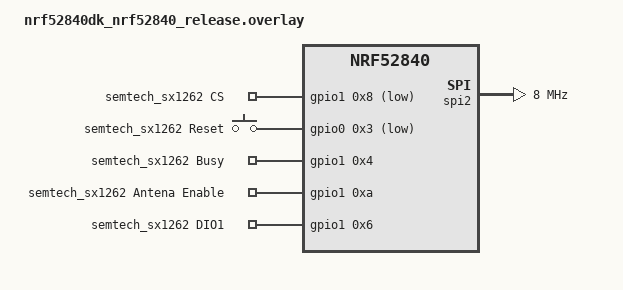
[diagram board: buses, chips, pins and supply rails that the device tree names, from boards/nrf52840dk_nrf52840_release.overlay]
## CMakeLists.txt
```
#
# Copyright (c) 2022 Nordic Semiconductor ASA
#
# SPDX-License-Identifier: LicenseRef-Nordic-5-Clause
#

cmake_minimum_required(VERSION 3.20.0)

include(../common/bootloader_version.cmake)

set(mcuboot_KCONFIG_ROOT ${CMAKE_CURRENT_SOURCE_DIR}/child_image/mcuboot/Kconfig.root)
set(hci_rpmsg_KCONFIG_ROOT ${CMAKE_CURRENT_SOURCE_DIR}/child_image/hci_rpmsg/Kconfig.root)

find_package(Zephyr REQUIRED HINTS $ENV{ZEPHYR_BASE})
project(sidewalk_template_subghz)

zephyr_include_directories(include)

target_sources(app PRIVATE
  src/main.c
  src/application_thread.c
  src/board_events.c
  src/sidewalk_callbacks.c
)
```

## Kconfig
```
#
# Copyright (c) 2022 Nordic Semiconductor ASA
#
# SPDX-License-Identifier: LicenseRef-Nordic-4-Clause
#

module = SID_THREAD
module-str = Sidewalk event thread
source "${ZEPHYR_BASE}/subsys/logging/Kconfig.template.log_config"

rsource "../common/Kconfig.defconfig"

source "Kconfig.zephyr"
```

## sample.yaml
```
sample:
  name: Sidewalk application template
  description: Sample implementing Amazon Sidewalk End Device
tests:
  sample.sidewalk.template.lora:
    build_only: true
    platform_allow: nrf52840dk_nrf52840 nrf5340dk_nrf5340_cpuapp
    integration_platforms:
      - nrf52840dk_nrf52840
      - nrf5340dk_nrf5340_cpuapp
    tags: Sidewalk

  sample.sidewalk.template.lora.cli:
    build_only: true
    platform_allow: nrf52840dk_nrf52840 nrf5340dk_nrf5340_cpuapp
    extra_args: CONFIG_SIDEWALK_CLI=y
    integration_platforms:
      - nrf52840dk_nrf52840
      - nrf5340dk_nrf5340_cpuapp
    tags: Sidewalk_cli

  sample.sidewalk.template.lora.release:
    build_only: true
    platform_allow: nrf52840dk_nrf52840 nrf5340dk_nrf5340_cpuapp
    extra_args: CONF_FILE=prj_release.conf
    integration_platforms:
      - nrf52840dk_nrf52840
      - nrf5340dk_nrf5340_cpuapp
    tags: Sidewalk

  sample.sidewalk.template.fsk:
    build_only: true
    platform_allow: nrf52840dk_nrf52840 nrf5340dk_nrf5340_cpuapp
    extra_args: OVERLAY_CONFIG=fsk.conf
    integration_platforms:
      - nrf52840dk_nrf52840
      - nrf5340dk_nrf5340_cpuapp
    tags: Sidewalk

  sample.sidewalk.template.fsk.cli:
    build_only: true
    platform_allow: nrf52840dk_nrf52840 nrf5340dk_nrf5340_cpuapp
    extra_args: OVERLAY_CONFIG=fsk.conf CONFIG_SIDEWALK_CLI=y
    integration_platforms:
      - nrf52840dk_nrf52840
      - nrf5340dk_nrf5340_cpuapp
    tags: Sidewalk_cli

  sample.sidewalk.template.fsk.release:
    build_only: true
    platform_allow: nrf52840dk_nrf52840 nrf5340dk_nrf5340_cpuapp
    extra_args: OVERLAY_CONFIG=fsk.conf CONF_FILE=prj_release.conf
    integration_platforms:
      - nrf52840dk_nrf52840
      - nrf5340dk_nrf5340_cpuapp
    tags: Sidewalk
```

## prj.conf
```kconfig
#
# Copyright (c) 2022 Nordic Semiconductor ASA
#
# SPDX-License-Identifier: LicenseRef-Nordic-5-Clause
#

# Sidewalk
CONFIG_SIDEWALK=y
CONFIG_SIDEWALK_LINK_MASK_LORA=y

# Logs
CONFIG_SIDEWALK_LOG_LEVEL_INF=y
CONFIG_NVS_LOG_LEVEL_WRN=y
CONFIG_LOG_PRINTK=y

# Buttons and LEDs
CONFIG_GPIO=y
CONFIG_DK_LIBRARY=y

# Bluetooth
CONFIG_BT_DEVICE_NAME="Sid template"

# Debug
CONFIG_RESET_ON_FATAL_ERROR=n

# Power Management
CONFIG_PM_DEVICE=y
```

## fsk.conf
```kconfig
#
# Copyright (c) 2022 Nordic Semiconductor ASA
#
# SPDX-License-Identifier: LicenseRef-Nordic-5-Clause
#

CONFIG_SIDEWALK_LINK_MASK_FSK=y

CONFIG_HW_CC3XX=y
CONFIG_PSA_CRYPTO_DRIVER_CC3XX=y
CONFIG_MBEDTLS_HEAP_SIZE=1024

CONFIG_SPIN_VALIDATE=n
```

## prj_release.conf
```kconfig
#
# Copyright (c) 2022 Nordic Semiconductor ASA
#
# SPDX-License-Identifier: LicenseRef-Nordic-5-Clause
#

# Sidewalk
CONFIG_SIDEWALK=y
CONFIG_SIDEWALK_LINK_MASK_LORA=y

# Buttons and LEDs
CONFIG_GPIO=y
CONFIG_DK_LIBRARY=y

# Bluetooth
CONFIG_BT_DEVICE_NAME="Sid template"

# Disable peripherals
CONFIG_LOG=n
CONFIG_SERIAL=n
CONFIG_SHELL=n
CONFIG_CONSOLE=n
CONFIG_UART_CONSOLE=n
CONFIG_ASSERT=n
CONFIG_ASSERT_VERBOSE=n
CONFIG_ASSERT_NO_FILE_INFO=y
CONFIG_PRINTK_SYNC=n
CONFIG_THREAD_NAME=n

# Power Management
CONFIG_PM_DEVICE=y
```

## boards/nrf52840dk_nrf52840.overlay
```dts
/*
 * Copyright (c) 2022 Nordic Semiconductor ASA
 *
 * SPDX-License-Identifier: LicenseRef-Nordic-5-Clause
 */

&spi3 {
	status = "disabled";
};

sid_semtech: &spi2 {
	compatible = "nordic,nrf-spim";
	status = "okay";
	pinctrl-0 = <&spi2_default>;
	pinctrl-1 = <&spi2_sleep>;
	pinctrl-names = "default", "sleep";
	clock-frequency = <DT_FREQ_M(8)>;
};

&spi2_default {
	group1 {
		psels = <NRF_PSEL(SPIM_SCK, 1, 15)>,
			<NRF_PSEL(SPIM_MISO, 1, 14)>,
			<NRF_PSEL(SPIM_MOSI, 1, 13)>;
	};
};

&spi2_sleep {
	group1 {
		psels = <NRF_PSEL(SPIM_SCK, 1, 15)>,
			<NRF_PSEL(SPIM_MISO, 1, 14)>,
			<NRF_PSEL(SPIM_MOSI, 1, 13)>;
		low-power-enable;
	};
};

/ {
	chosen {
		nordic,pm-ext-flash = &mx25r64;
	};
};
```

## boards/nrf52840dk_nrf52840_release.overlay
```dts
/*
 * Copyright (c) 2022 Nordic Semiconductor ASA
 *
 * SPDX-License-Identifier: LicenseRef-Nordic-5-Clause
 */

&spi3 {
	status = "disabled";
};

sid_semtech: &spi2 {
	compatible = "nordic,nrf-spim";
	status = "okay";
	pinctrl-0 = <&spi2_default>;
	pinctrl-1 = <&spi2_sleep>;
	pinctrl-names = "default", "sleep";
	clock-frequency = <DT_FREQ_M(8)>;
};

&spi2_default {
	group1 {
		psels = <NRF_PSEL(SPIM_SCK, 1, 15)>,
			<NRF_PSEL(SPIM_MISO, 1, 14)>,
			<NRF_PSEL(SPIM_MOSI, 1, 13)>;
	};
};

&spi2_sleep {
	group1 {
		psels = <NRF_PSEL(SPIM_SCK, 1, 15)>,
			<NRF_PSEL(SPIM_MISO, 1, 14)>,
			<NRF_PSEL(SPIM_MOSI, 1, 13)>;
		low-power-enable;
	};
};

/ {
	semtech_sx1262_gpios{
 		compatible = "gpio-keys";
		semtech_sx1262_cs: cs {
			gpios = <&gpio1 0x8 GPIO_ACTIVE_LOW>;
			label = "semtech_sx1262 CS";
		};
 		semtech_sx1262_reset_gpios: reset {
			gpios = <&gpio0 0x3 GPIO_ACTIVE_LOW>;
			label = "semtech_sx1262 Reset";
		};
		semtech_sx1262_busy_gpios: busy {
			gpios = <&gpio1 0x4 GPIO_ACTIVE_HIGH>;
			label = "semtech_sx1262 Busy";
		};
		semtech_sx1262_antenna_enable_gpios: antena_enable {
			gpios = <&gpio1 0xa GPIO_ACTIVE_HIGH>;
			label = "semtech_sx1262 Antena Enable";
		};
		semtech_sx1262_dio1_gpios: dio1 {
			gpios = <&gpio1 0x6 GPIO_ACTIVE_HIGH>;
			label = "semtech_sx1262 DIO1";
		};
 	};

	chosen {
		nordic,pm-ext-flash = &mx25r64;
	};
};
```

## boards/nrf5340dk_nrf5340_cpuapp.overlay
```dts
/*
 * Copyright (c) 2023 Nordic Semiconductor ASA
 *
 * SPDX-License-Identifier: LicenseRef-Nordic-5-Clause
 */

#include <zephyr/dt-bindings/ipc_service/static_vrings.h>

&ipc0 {
    zephyr,priority = <0 PRIO_COOP>;
};

 sid_semtech: &spi4 {
	compatible = "nordic,nrf-spim";
	status = "okay";
	pinctrl-0 = <&spi4_default>;
	pinctrl-1 = <&spi4_sleep>;
	pinctrl-names = "default", "sleep";
	clock-frequency = <DT_FREQ_M(8)>;
};

/{
	semtech_sx1262_gpios{
		compatible = "gpio-keys";
	   semtech_sx1262_cs: cs {
		   gpios = <&gpio1 0x9 GPIO_ACTIVE_LOW>;
		   label = "semtech_sx1262 CS";
	   };
		semtech_sx1262_reset_gpios: reset {
		   gpios = <&gpio0 0x4 GPIO_ACTIVE_LOW>;
		   label = "semtech_sx1262 Reset";
	   };
	   semtech_sx1262_busy_gpios: busy {
		   gpios = <&gpio1 0x5 GPIO_ACTIVE_HIGH>;
		   label = "semtech_sx1262 Busy";
	   };
	   semtech_sx1262_antenna_enable_gpios: antena_enable {
		   gpios = <&gpio1 0xa GPIO_ACTIVE_HIGH>;
		   label = "semtech_sx1262 Antena Enable";
	   };
	   semtech_sx1262_dio1_gpios: dio1 {
		   gpios = <&gpio1 0x7 GPIO_ACTIVE_HIGH>;
		   label = "semtech_sx1262 DIO1";
	   };
	};

	chosen {
		nordic,pm-ext-flash = &mx25r64;
	};
};

/* Disable unused peripherals to reduce power consumption */
&adc {
	status = "disabled";
};
&i2c1 {
	status = "disabled";
};
&pwm0 {
	status = "disabled";
};
&spi2 {
	status = "disabled";
};
&usbd {
	status = "disabled";
};
```

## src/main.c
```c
/*
 * Copyright (c) 2023 Nordic Semiconductor ASA
 *
 * SPDX-License-Identifier: LicenseRef-Nordic-5-Clause
 */

#include <sid_api.h>
#include <sid_error.h>
#include <sid_pal_assert_ifc.h>
#include <app_ble_config.h>
#include <app_subGHz_config.h>

#include <stdbool.h>
#include <zephyr/kernel.h>
#include <zephyr/logging/log.h>
#include <zephyr/settings/settings.h>

#include <settings_utils.h>
#include <dk_buttons_and_leds.h>
#include <sidewalk_version.h>
#include <nordic_dfu.h>
#if defined(CONFIG_BOOTLOADER_MCUBOOT)
#include <zephyr/dfu/mcuboot.h>
#endif
#if defined(CONFIG_GPIO)
#include <state_notifier_gpio_backend.h>
#endif
#if defined(CONFIG_LOG)
#include <state_notifier_log_backend.h>
#endif

#include <pal_init.h>
#include <buttons.h>
#include <application_thread.h>
#include <sidewalk_callbacks.h>

#if defined(CONFIG_NORDIC_QSPI_NOR)
#include <zephyr/device.h>
#include <zephyr/pm/device.h>

#define EXTERNAL_FLASH DT_CHOSEN(nordic_pm_ext_flash)
#endif

LOG_MODULE_REGISTER(main, CONFIG_SIDEWALK_LOG_LEVEL);

static app_ctx_t app_context;

static void button_handler(uint32_t event)
{
	app_event_send((app_event_t)event);
}

static sid_error_t app_buttons_init(btn_handler_t handler)
{
	button_set_action_long_press(DK_BTN1, handler, BUTTON_EVENT_FACTORY_RESET);
	button_set_action_short_press(DK_BTN2, handler, BUTTON_EVENT_GET_DEVICE_PROFILE);
	button_set_action_long_press(DK_BTN2, handler, BUTTON_EVENT_SET_DEVICE_PROFILE);
	button_set_action(DK_BTN3, handler, BUTTON_EVENT_SEND_HELLO);
#if defined(CONFIG_SIDEWALK_DFU_SERVICE_BLE)
	button_set_action_long_press(DK_BTN4, handler, BUTTON_EVENT_NORDIC_DFU);
#endif

	return buttons_init() ? SID_ERROR_GENERIC : SID_ERROR_NONE;
}

static void app_setup(void)
{
	if (app_buttons_init(button_handler)) {
		LOG_ERR("Failed to initialze buttons.");
		SID_PAL_ASSERT(false);
	}

	if (dk_leds_init()) {
		LOG_ERR("Failed to initialze LEDs.");
		SID_PAL_ASSERT(false);
	}
#if defined(CONFIG_GPIO)
	state_watch_init_gpio(&global_state_notifier);
#endif
#if defined(CONFIG_LOG)
	state_watch_init_log(&global_state_notifier);
#endif

	if (sidewalk_callbacks_set(&app_context, &app_context.event_callbacks)) {
		LOG_ERR("Failed to set sidewalk callbacks");
		SID_PAL_ASSERT(false);
	}

	app_context.config = (struct sid_config){
		.link_mask = BUILT_IN_LM,
		.time_sync_periodicity_seconds = 7200,
		.callbacks = &app_context.event_callbacks,
		.link_config = app_get_ble_config(),
		.sub_ghz_link_config = app_get_sub_ghz_config(),
	};

#if defined(CONFIG_BOOTLOADER_MCUBOOT)
	if (!boot_is_img_confirmed()) {
		int ret = boot_write_img_confirmed();

		if (ret) {
			LOG_ERR("Couldn't confirm image: %d", ret);
		} else {
			LOG_INF("Marked image as OK");
		}
	}
#endif

#if defined(CONFIG_NORDIC_QSPI_NOR)
	const struct device *const qspi_dev = DEVICE_DT_GET(EXTERNAL_FLASH);

	if (device_is_ready(qspi_dev)) {
		pm_device_action_run(qspi_dev, PM_DEVICE_ACTION_SUSPEND);
	}
#endif
}

int main(void)
{
	PRINT_SIDEWALK_VERSION();

	switch (application_to_start()) {
	case SIDEWALK_APPLICATION: {
		app_setup();
		if (app_thread_init(&app_context)) {
			LOG_ERR("Failed to start Sidewalk thread");
		}
		break;
	};
#if defined(CONFIG_SIDEWALK_DFU_SERVICE_BLE)
	case DFU_APPLICATION: {
		const int ret = nordic_dfu_ble_start();
		LOG_INF("DFU service started, return value %d", ret);
		break;
	}
#endif
	default:
		LOG_ERR("Unknown application to start.");
	}

	return 0;
}
```

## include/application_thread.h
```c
/*
 * Copyright (c) 2023 Nordic Semiconductor ASA
 *
 * SPDX-License-Identifier: LicenseRef-Nordic-5-Clause
 */

#ifndef APPLICATION_THREAD_H
#define APPLICATION_THREAD_H

#include <sid_api.h>

#ifdef CONFIG_SIDEWALK_LINK_MASK_BLE
#define BUILT_IN_LM (uint32_t)(SID_LINK_TYPE_1)
#elif CONFIG_SIDEWALK_LINK_MASK_FSK
#define BUILT_IN_LM (uint32_t)(SID_LINK_TYPE_2)
#elif CONFIG_SIDEWALK_LINK_MASK_LORA
#define BUILT_IN_LM (uint32_t)(SID_LINK_TYPE_3)
#else
#error "Not defined Sidewalk link mask!!"
#endif

typedef struct application_context {
	struct sid_event_callbacks event_callbacks;
	struct sid_config config;
	struct sid_handle *handle;
	bool connection_request;
} app_ctx_t;

typedef enum application_events {
	SIDEWALK_EVENT,

	BUTTON_EVENT_SEND_HELLO,
	BUTTON_EVENT_SET_BATTERY_LEVEL,
	BUTTON_EVENT_FACTORY_RESET,
	BUTTON_EVENT_GET_DEVICE_PROFILE,
	BUTTON_EVENT_SET_DEVICE_PROFILE,
#if defined(CONFIG_SIDEWALK_DFU)
	BUTTON_EVENT_NORDIC_DFU,
#endif
} app_event_t;

/**
 * @brief Send Event to application thread
 *
 * @param event event to send
 */
void app_event_send(app_event_t event);

/**
 * @brief Initialize and start application thread
 *
 * @param ctx application context
 *
 * @return SID_ERROR_NULL_POINTER in case of invalid ctx
 */
sid_error_t app_thread_init(app_ctx_t *ctx);

#endif /* APPLICATION_THREAD_H */
```

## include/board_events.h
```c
/*
 * Copyright (c) 2023 Nordic Semiconductor ASA
 *
 * SPDX-License-Identifier: LicenseRef-Nordic-5-Clause
 */

#ifndef BOARD_EVENTS_H
#define BOARD_EVENTS_H

#include <application_thread.h>

/**
 * @brief Application handler for sending hello message
 *
 * @param application_ctx
 */
void button_event_send_hello(app_ctx_t *application_ctx);

/**
 * @brief Application handler for sending battery level
 *
 * @param application_ctx
 */
void button_event_set_battery(app_ctx_t *application_ctx);

/**
 * @brief Application handler for entering in DFU mode
 *
 * @param application_ctx
 */
void button_event_DFU(app_ctx_t *application_ctx);

/**
 * @brief Applicaiton handler for requesting factory reset
 *
 * @param application_ctx
 */
void button_event_factory_reset(app_ctx_t *application_ctx);

/**
 * @brief Application handler for reading profile
 *
 * @param application_ctx
 */
void button_event_get_profile(app_ctx_t *application_ctx);

/**
 * @brief Application handler for setting profile
 *
 * @param application_ctx
 */
void button_event_set_ptofile(app_ctx_t *application_ctx);

#endif /* BOARD_EVENTS_H */
```

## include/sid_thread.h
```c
/*
 * Copyright (c) 2023 Nordic Semiconductor ASA
 *
 * SPDX-License-Identifier: LicenseRef-Nordic-4-Clause
 */
#ifndef SID_THREAD_H
#define SID_THREAD_H

#include <zephyr/kernel.h>
#include <sid_error.h>
#include <sid_api.h>

typedef struct sid_thread_ctx  {
	struct k_work_q sidewalk_work_q;
	struct sid_handle *sidewalk_handle;
	struct sid_config sidewalk_config;
	struct k_work sidewalk_event_work;
} sid_thread_ctx_t;

/**
 * @brief Start Sidewalk work queue thread
 * 
 * @return struct k_work_q* work queue dedicated for Sidewalk calls
 */
struct k_work_q* sid_thread_init(void);

/**
 * @brief Get Sidewalk handler
 * 
 */
struct sid_handle** get_sidewalk_handle(void);

/**
 * @brief Get Sidewalk configuration
 * 
 */
struct sid_config *get_sidewalk_config(void);

#define LM_2_STR(_lm)   (_lm == SID_LINK_TYPE_1 ? "BLE" :    \
			 ((_lm == SID_LINK_TYPE_2) ? "FSK" : \
			  ((_lm == SID_LINK_TYPE_3) ? "LoRa" : "INVALID")))

#endif /* SID_THREAD_H */
```

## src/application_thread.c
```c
/*
 * Copyright (c) 2023 Nordic Semiconductor ASA
 *
 * SPDX-License-Identifier: LicenseRef-Nordic-5-Clause
 */
#include <sid_api.h>
#include <sid_error.h>

#include <zephyr/kernel.h>
#include <zephyr/logging/log.h>

#include <board_events.h>
#include <pal_init.h>
#if defined(CONFIG_SIDEWALK_CLI)
#include <sid_shell.h>
#endif

#include <application_thread.h>
#include <state_notifier.h>

static struct k_thread application_thread;

K_THREAD_STACK_DEFINE(application_thread_stack, CONFIG_SIDEWALK_THREAD_STACK_SIZE);
K_MSGQ_DEFINE(application_thread_msgq, sizeof(app_event_t), CONFIG_SIDEWALK_THREAD_QUEUE_SIZE, 4);

LOG_MODULE_REGISTER(application, CONFIG_SIDEWALK_LOG_LEVEL);

static void sidewalk_app_entry(void *ctx, void *unused, void *unused2)
{
	ARG_UNUSED(unused);
	ARG_UNUSED(unused2);
	app_ctx_t *application_ctx = (app_ctx_t *)ctx;

	if (application_pal_init()) {
		LOG_ERR("Failed to initialze PAL layer for sidewalk applicaiton.");
		application_state_error(&global_state_notifier, true);
		return;
	}

	sid_error_t err = sid_init(&application_ctx->config, &application_ctx->handle);

	switch (err) {
	case SID_ERROR_NONE:
		break;
	case SID_ERROR_ALREADY_INITIALIZED:
		LOG_WRN("Sidewalk already initialized!");
		break;
	default:
		LOG_ERR("Unknown error (%d) during sidewalk initialization!", err);
		application_state_error(&global_state_notifier, true);
		return;
	}

	err = sid_start(application_ctx->handle, BUILT_IN_LM);
	if (err) {
		LOG_ERR("Unknown error (%d) during sidewalk start!", err);
		application_state_error(&global_state_notifier, true);
		return;
	}
#if defined(CONFIG_SIDEWALK_CLI)
	CLI_init(application_ctx->handle);
#endif
	application_state_connected(&global_state_notifier, false);
	application_state_working(&global_state_notifier, true);
	while (true) {
		app_event_t event = SIDEWALK_EVENT;

		if (!k_msgq_get(&application_thread_msgq, &event, K_FOREVER)) {
			switch (event) {
			case SIDEWALK_EVENT:
				err = sid_process(application_ctx->handle);
				if (err) {
					LOG_WRN("sid_process returned %d", err);
				}
				break;
			case BUTTON_EVENT_SEND_HELLO:
				button_event_send_hello(application_ctx);
				break;
			case BUTTON_EVENT_SET_BATTERY_LEVEL:
				button_event_set_battery(application_ctx);
				break;
			case BUTTON_EVENT_FACTORY_RESET:
				button_event_factory_reset(application_ctx);
				break;
			case BUTTON_EVENT_GET_DEVICE_PROFILE:
				button_event_get_profile(application_ctx);
				break;
			case BUTTON_EVENT_SET_DEVICE_PROFILE:
				button_event_set_ptofile(application_ctx);
				break;

#if defined(CONFIG_SIDEWALK_DFU_SERVICE_BLE)
			case BUTTON_EVENT_NORDIC_DFU:
				button_event_DFU(application_ctx);
				break;
#endif

			default:
				LOG_ERR("Invalid Event received!");
			}
		}
	}
	application_state_working(&global_state_notifier, false);
}

void app_event_send(app_event_t event)
{
	int ret = k_msgq_put(&application_thread_msgq, (void *)&event,
			     k_is_in_isr() ? K_NO_WAIT : K_FOREVER);

	if (ret) {
		LOG_ERR("Failed to send event to application thread. err: %d", ret);
	}
}

sid_error_t app_thread_init(app_ctx_t *ctx)
{
	if (!ctx) {
		return SID_ERROR_NULL_POINTER;
	}
	(void)k_thread_create(&application_thread, application_thread_stack,
			      K_THREAD_STACK_SIZEOF(application_thread_stack), sidewalk_app_entry,
			      ctx, NULL, NULL, CONFIG_SIDEWALK_THREAD_PRIORITY, 0, K_NO_WAIT);
	k_thread_name_set(&application_thread, "sidewalk_thread");
	return SID_ERROR_NONE;
}
```

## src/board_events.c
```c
/*
 * Copyright (c) 2023 Nordic Semiconductor ASA
 *
 * SPDX-License-Identifier: LicenseRef-Nordic-5-Clause
 */

#include <sid_api.h>
#include <sid_error.h>
#include <sid_900_cfg.h>

#include <state_notifier.h>
#include <board_events.h>

#if defined(CONFIG_SIDEWALK_DFU)
#include <nordic_dfu.h>
#endif

#include <zephyr/logging/log.h>
#include <zephyr/settings/settings.h>
#include <zephyr/sys/reboot.h>
#include <zephyr/kernel.h>

LOG_MODULE_REGISTER(board_events, CONFIG_SIDEWALK_LOG_LEVEL);

#if defined(CONFIG_SIDEWALK_LINK_MASK_FSK)
static struct sid_device_profile profile_light = {
	.unicast_params.device_profile_id = SID_LINK2_PROFILE_1,
	.unicast_params.rx_window_count = SID_RX_WINDOW_CNT_INFINITE,
	.unicast_params.unicast_window_interval.sync_rx_interval_ms =
		SID_LINK2_RX_WINDOW_SEPARATION_3,
	.unicast_params.wakeup_type = SID_TX_AND_RX_WAKEUP,
};

static struct sid_device_profile profile_fast = {
	.unicast_params.device_profile_id = SID_LINK2_PROFILE_2,
	.unicast_params.rx_window_count = SID_RX_WINDOW_CNT_INFINITE,
	.unicast_params.unicast_window_interval.sync_rx_interval_ms =
		SID_LINK2_RX_WINDOW_SEPARATION_3,
	.unicast_params.wakeup_type = SID_TX_AND_RX_WAKEUP,
};

static struct sid_device_profile profile_from_dev = { .unicast_params.device_profile_id =
							      SID_LINK2_PROFILE_1 };
#elif defined(CONFIG_SIDEWALK_LINK_MASK_LORA)
static struct sid_device_profile profile_light = {
	.unicast_params.device_profile_id = SID_LINK3_PROFILE_A,
	.unicast_params.rx_window_count = SID_RX_WINDOW_CNT_2,
	.unicast_params.unicast_window_interval.async_rx_interval_ms =
		SID_LINK3_RX_WINDOW_SEPARATION_3,
	.unicast_params.wakeup_type = SID_TX_AND_RX_WAKEUP,
};

static struct sid_device_profile profile_fast = {
	.unicast_params.device_profile_id = SID_LINK3_PROFILE_B,
	.unicast_params.rx_window_count = SID_RX_WINDOW_CNT_INFINITE,
	.unicast_params.unicast_window_interval.async_rx_interval_ms =
		SID_LINK3_RX_WINDOW_SEPARATION_3,
	.unicast_params.wakeup_type = SID_TX_AND_RX_WAKEUP,
};

static struct sid_device_profile profile_from_dev = { .unicast_params.device_profile_id =
							      SID_LINK3_PROFILE_A };
#endif

void button_event_send_hello(app_ctx_t *application_ctx)
{
	struct sid_status status = { .state = SID_STATE_NOT_READY };
	sid_error_t err;

	static uint8_t counter = 0;
	static struct sid_msg msg;
	static struct sid_msg_desc desc;

	err = sid_get_status(application_ctx->handle, &status);
	switch (err) {
	case SID_ERROR_NONE:
		break;
	case SID_ERROR_INVALID_ARGS:
		LOG_ERR("Sidewalk library is not initialzied!");
		return;
	default:
		LOG_ERR("Unknown error during sid_get_status() -> %d", err);
		return;
	}

	if (status.state != SID_STATE_READY && status.state != SID_STATE_SECURE_CHANNEL_READY) {
		LOG_ERR("Sidewalk Status is invalid!, expected SID_STATE_READY or SID_STATE_SECURE_CHANNEL_READY, got %d",
			status.state);
		return;
	}

	msg = (struct sid_msg){ .data = (uint8_t *)&counter, .size = sizeof(uint8_t) };
	desc = (struct sid_msg_desc){
		.type = SID_MSG_TYPE_NOTIFY,
		.link_type = SID_LINK_TYPE_ANY,
		.link_mode = SID_LINK_MODE_CLOUD,
	};

	desc.msg_desc_attr.tx_attr.request_ack = true;
	desc.msg_desc_attr.tx_attr.num_retries = 3;
	desc.msg_desc_attr.tx_attr.ttl_in_seconds = 20;

	err = sid_put_msg(application_ctx->handle, &msg, &desc);
	switch (err) {
	case SID_ERROR_NONE: {
		application_state_sending(&global_state_notifier, true);
		counter++;
		LOG_INF("queued data message id:%d", desc.id);
		break;
	}
	case SID_ERROR_TRY_AGAIN: {
		LOG_ERR("there is no space in the transmit queue, Try again.");
		break;
	}
	default:
		LOG_ERR("Unknown error returned from sid_put_msg() -> %d", err);
	}
}

void button_event_set_battery(app_ctx_t *application_ctx)
{
	static uint8_t fake_bat_lev = 70;

	++fake_bat_lev;
	if (fake_bat_lev > 100) {
		fake_bat_lev = 0;
	}
	sid_error_t ret = sid_option(application_ctx->handle, SID_OPTION_BLE_BATTERY_LEVEL,
				     &fake_bat_lev, sizeof(fake_bat_lev));

	if (SID_ERROR_NONE != ret) {
		LOG_ERR("failed setting Sidewalk option!");
	} else {
		LOG_DBG("set battery level to %d", fake_bat_lev);
	}
}

#if defined(CONFIG_SIDEWALK_DFU_SERVICE_BLE)
void button_event_DFU(app_ctx_t *application_ctx)
{
	bool DFU_mode = true;

	(void)settings_save_one(CONFIG_DFU_FLAG_SETTINGS_KEY, (const void *)&DFU_mode,
				sizeof(DFU_mode));

	sid_deinit(application_ctx->handle);
	k_sleep(K_SECONDS(1));

	sys_reboot(SYS_REBOOT_COLD);
}

#endif /* CONFIG_SIDEWALK_DFU_SERVICE_BLE */

void button_event_factory_reset(app_ctx_t *application_ctx)
{
	sid_error_t ret = sid_set_factory_reset(application_ctx->handle);

	if (SID_ERROR_NONE != ret) {
		LOG_ERR("Notification of factory reset to sid api failed!");
	} else {
		LOG_DBG("Wait for Sid api to notify to proceed with factory reset!");
	}
}

void button_event_get_profile(app_ctx_t *application_ctx)
{
	sid_error_t ret = sid_option(application_ctx->handle, SID_OPTION_900MHZ_GET_DEVICE_PROFILE,
				     &profile_from_dev, sizeof(profile_from_dev));

	if (ret) {
		LOG_ERR("Profile get failed (err %d)", ret);
		return;
	}

	LOG_INF("\n"
		"Profile id 0x%x\n"
		"Profile dl count %d\n"
		"Profile dl interval %d\n"
		"Profile wakeup %d\n",
		profile_from_dev.unicast_params.device_profile_id,
		profile_from_dev.unicast_params.rx_window_count,
		profile_from_dev.unicast_params.unicast_window_interval.async_rx_interval_ms,
		profile_from_dev.unicast_params.wakeup_type);
}

void button_event_set_ptofile(app_ctx_t *application_ctx)
{
	static struct sid_device_profile *new_profile = &profile_light;

	LOG_INF("Profile set %s", (&profile_light == new_profile) ? "light" : "fast");

	sid_error_t ret = sid_option(application_ctx->handle, SID_OPTION_900MHZ_SET_DEVICE_PROFILE,
				     new_profile, sizeof(*new_profile));

	if (!ret) {
		new_profile = (&profile_light == new_profile) ? &profile_fast : &profile_light;
		LOG_INF("Profile set success.");
	} else {
		LOG_ERR("Profile set failed (err %d)", ret);
	}
}
```

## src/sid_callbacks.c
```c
/*
 * Copyright (c) 2023 Nordic Semiconductor ASA
 *
 * SPDX-License-Identifier: LicenseRef-Nordic-4-Clause
 */

#include <zephyr/kernel.h>
#include <zephyr/logging/log.h>

#include <sid_callbacks.h>
#include <sid_thread.h>

#include <sid_api.h>
#include <sid_hal_reset_ifc.h>

#ifdef CONFIG_SIDEWALK_CLI
#include <sid_shell.h>
#endif

#ifdef CONFIG_STATE_NOTIFIER
#include <state_notifier.h>
#endif

static const uint8_t *link_mode_name[] = {
	"none", [SID_LINK_MODE_CLOUD] = "cloud", [SID_LINK_MODE_MOBILE] = "mobile"
};

static const uint8_t *link_mode_idx_name[] = {
	"ble", "fsk", "lora"
};

LOG_MODULE_REGISTER(sid_callbacks, CONFIG_SID_THREAD_LOG_LEVEL);
// ////////////////////////////////////////////////////////////////////////////

static void sidewalk_event_worker(struct k_work *work)
{
	sid_thread_ctx_t *ctx = CONTAINER_OF(work, sid_thread_ctx_t, sidewalk_event_work);

	sid_error_t e = sid_process(ctx->sidewalk_handle);

	if (e != SID_ERROR_NONE) {
		LOG_ERR("sid process failed with error %d", e);
	}
}

// ////////////////////////////////////////////////////////////////////////////
static void on_sidewalk_event(bool in_isr, void *context)
{
	ARG_UNUSED(in_isr);
	sid_thread_ctx_t * ctx = (sid_thread_ctx_t*) context;
	if (ctx->sidewalk_event_work.handler == NULL) {
		k_work_init(&ctx->sidewalk_event_work, sidewalk_event_worker);
	}
	k_work_submit_to_queue(&ctx->sidewalk_work_q, &ctx->sidewalk_event_work);
}

static void on_sidewalk_msg_received(const struct sid_msg_desc *msg_desc, const struct sid_msg *msg, void *context)
{
	LOG_DBG("Sidewalk -> App");
	LOG_HEXDUMP_INF((uint8_t *)msg->data, msg->size, "Message data: ");

	#ifdef CONFIG_SIDEWALK_CLI
	CLI_register_message_received(msg_desc->id);
	#endif
	#ifdef CONFIG_STATE_NOTIFIER
	application_state_receiving(&global_state_notifier, true);
	application_state_receiving(&global_state_notifier, false);
	#endif
}


static void on_sidewalk_msg_sent(const struct sid_msg_desc *msg_desc, void *context)
{
	LOG_DBG("Sidewalk -> App");

	#ifdef CONFIG_STATE_NOTIFIER
	application_state_sending(&global_state_notifier, false);
	#endif
	#ifdef CONFIG_SIDEWALK_CLI
	CLI_register_message_send();
	#endif
	LOG_INF("sent message(type: %d, id: %u)", (int)msg_desc->type, msg_desc->id);
}

static void on_sidewalk_send_error(sid_error_t error, const struct sid_msg_desc *msg_desc, void *context)
{
	LOG_DBG("Sidewalk -> App: error %d", error);

	#ifdef CONFIG_STATE_NOTIFIER
	application_state_sending(&global_state_notifier, false);
	#endif
	#ifdef CONFIG_SIDEWALK_CLI
	CLI_register_message_not_send();
	#endif
	LOG_ERR("failed to send message(type: %d, id: %u), err:%d", (int)msg_desc->type, msg_desc->id, (int)error);
}

static void on_sidewalk_factory_reset(void *context)
{
	LOG_DBG("Sidewalk -> App");

	LOG_DBG("factory reset notification received from sid api");
	if (sid_hal_reset(SID_HAL_RESET_NORMAL)) {
		LOG_WRN("Reboot type not supported");
	}
}

static void on_sidewalk_status_changed(const struct sid_status *status, void *context)
{
	sid_thread_ctx_t *ctx = (sid_thread_ctx_t *)context;

#ifdef CONFIG_SIDEWALK_CLI
	CLI_register_sid_status(status);
#endif
	switch (status->state) {
	case SID_STATE_READY:
		#ifdef CONFIG_STATE_NOTIFIER
		application_state_connected(&global_state_notifier, true);
		#endif
		break;
	case SID_STATE_NOT_READY:
		#ifdef CONFIG_STATE_NOTIFIER
		application_state_connected(&global_state_notifier, false);
		#endif
		break;
	case SID_STATE_ERROR:
		LOG_ERR("Sidewalk error: %d", (int)sid_get_error(ctx->sidewalk_handle));
		break;
	case SID_STATE_SECURE_CHANNEL_READY:
		break;
	}

	#ifdef CONFIG_STATE_NOTIFIER
	application_state_registered(&global_state_notifier, status->detail.registration_status == SID_STATUS_REGISTERED);
	application_state_time_sync(&global_state_notifier, status->detail.time_sync_status == SID_STATUS_TIME_SYNCED);
	application_state_link(&global_state_notifier, status->detail.link_status_mask);
	#endif

	LOG_INF("Device %sregistered, Time Sync %s, Link status %s",
		(SID_STATUS_REGISTERED == status->detail.registration_status) ? "Is " : "Un",
		(SID_STATUS_TIME_SYNCED == status->detail.time_sync_status) ? "Success" : "Fail",
		status->detail.link_status_mask ? "Up" : "Down");
	for (int i = 0; i < SID_LINK_TYPE_MAX_IDX; i++) {
		enum sid_link_mode mode = (enum sid_link_mode)status->detail.supported_link_modes[i];

		if (mode) {
			LOG_INF("Link mode %s, on %s", link_mode_name[mode], link_mode_idx_name[i]);
		}
	}
}

// ////////////////////////////////////////////////////////////////////////////

int sid_callbacks_set(void *ctx, struct sid_event_callbacks *cb){
	if (!cb || !ctx) {
		return -1;
	}

	cb->context = ctx;
	cb->on_event = on_sidewalk_event;                          /* Called from ISR context */
	cb->on_msg_received = on_sidewalk_msg_received;            /* Called from sid_process() */
	cb->on_msg_sent = on_sidewalk_msg_sent;                    /* Called from sid_process() */
	cb->on_send_error = on_sidewalk_send_error;                /* Called from sid_process() */
	cb->on_status_changed = on_sidewalk_status_changed;        /* Called from sid_process() */
	cb->on_factory_reset = on_sidewalk_factory_reset;          /* Called from sid_process() */

	return 0;
}
```

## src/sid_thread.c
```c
/*
 * Copyright (c) 2023 Nordic Semiconductor ASA
 *
 * SPDX-License-Identifier: LicenseRef-Nordic-4-Clause
 */


#include <zephyr/kernel.h>

#include <sid_thread.h>
#include <sid_api.h>

#include <app_ble_config.h>
#include <app_subGHz_config.h>
#include <sid_callbacks.h>

#ifdef CONFIG_STATE_NOTIFIER
#include <state_notifier.h>
#endif

#ifdef CONFIG_SIDEWALK_CLI
#include <sid_shell.h>
#endif

K_THREAD_STACK_DEFINE(sidewalk_work_q_stack, CONFIG_SIDEWALK_THREAD_STACK_SIZE);
// ////////////////////////////////////////////////////////////////////////////

static sid_thread_ctx_t g_sid_thread_ctx;
static struct sid_event_callbacks event_callbacks;

///////////////////////////////////////////////////////////////////////////////

struct k_work_q * sid_thread_init(void)
{
	#ifdef CONFIG_STATE_NOTIFIER
	#ifdef CONFIG_GPIO
	state_watch_init_gpio(&global_state_notifier);
	#endif
	#ifdef CONFIG_LOG
	state_watch_init_log(&global_state_notifier);
	#endif
	#endif

	k_work_queue_init(&g_sid_thread_ctx.sidewalk_work_q);
	static struct k_work_queue_config cfg = { .name = "sidewalk_thread", .no_yield = false };

	k_work_queue_start(&g_sid_thread_ctx.sidewalk_work_q, sidewalk_work_q_stack,
			   K_THREAD_STACK_SIZEOF(sidewalk_work_q_stack), CONFIG_SIDEWALK_THREAD_PRIORITY,
			   &cfg);

	#ifdef CONFIG_SIDEWALK_CLI
	CLI_init(&g_sid_thread_ctx.sidewalk_work_q, g_sid_thread_ctx.sidewalk_handle);
	#endif
	return &g_sid_thread_ctx.sidewalk_work_q;
}

struct sid_config *get_sidewalk_config()
{
	static bool config_initialized = false;

	if (!config_initialized) {
		if (sid_callbacks_set(&g_sid_thread_ctx, &event_callbacks)) {
			return NULL;
		}
		g_sid_thread_ctx.sidewalk_config = (struct sid_config){
			.link_mask = 0,
			.callbacks = &event_callbacks,
			.link_config = app_get_ble_config(),
			.time_sync_periodicity_seconds = 7200,
			.sub_ghz_link_config = app_get_sub_ghz_config(),
		};
		config_initialized = true;

	}
	return &g_sid_thread_ctx.sidewalk_config;
}

struct sid_handle **get_sidewalk_handle()
{
	return &g_sid_thread_ctx.sidewalk_handle;
}
```

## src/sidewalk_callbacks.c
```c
/*
 * Copyright (c) 2023 Nordic Semiconductor ASA
 *
 * SPDX-License-Identifier: LicenseRef-Nordic-5-Clause
 */

#include <sid_api.h>
#include <sid_error.h>
#include <sid_hal_reset_ifc.h>

#include <state_notifier.h>
#if defined(CONFIG_SIDEWALK_CLI)
#include <sid_shell.h>
#endif

#include <application_thread.h>

#include <zephyr/logging/log.h>

LOG_MODULE_REGISTER(callbacks, CONFIG_SIDEWALK_LOG_LEVEL);

static const uint8_t *status_name[] = { "ready", "not ready", "Error", "secure channel ready" };

static const uint8_t *link_mode_idx_name[] = { "ble", "fsk", "lora" };

#include <json_printer.h>
#include <sidTypes2Json.h>

#undef JSON_RAW_PRINT
#define JSON_RAW_PRINT(format, ...) LOG_RAW(format __VA_OPT__(, ) __VA_ARGS__)

static void on_sidewalk_event(bool in_isr, void *context)
{
	LOG_DBG("on event, from %s, context %p", in_isr ? "ISR" : "App", context);
	app_event_send(SIDEWALK_EVENT);
}

static void on_sidewalk_msg_received(const struct sid_msg_desc *msg_desc, const struct sid_msg *msg,
				     void *context)
{
#ifdef CONFIG_SIDEWALK_CLI
	CLI_register_message_received(msg_desc->id);
#endif
	application_state_receiving(&global_state_notifier, true);
	application_state_receiving(&global_state_notifier, false);
	LOG_DBG("received message(type: %d, link_mode: %d, id: %u size %u)", (int)msg_desc->type,
		(int)msg_desc->link_mode, msg_desc->id, msg->size);
	LOG_HEXDUMP_INF((uint8_t *)msg->data, msg->size, "Message data: ");
	printk(JSON_NEW_LINE(JSON_OBJ(JSON_NAME(
		"on_msg_received", JSON_OBJ(JSON_VAL_sid_msg_desc("sid_msg_desc", msg_desc, 1))))));
}

static void on_sidewalk_msg_sent(const struct sid_msg_desc *msg_desc, void *context)
{
	application_state_sending(&global_state_notifier, false);
#ifdef CONFIG_SIDEWALK_CLI
	CLI_register_message_send();
#endif
	LOG_INF("sent message(type: %d, id: %u)", (int)msg_desc->type, msg_desc->id);
	printk(JSON_NEW_LINE(JSON_OBJ(JSON_NAME(
		"on_msg_sent", JSON_OBJ(JSON_VAL_sid_msg_desc("sid_msg_desc", msg_desc, 0))))));
}

static void on_sidewalk_send_error(sid_error_t error, const struct sid_msg_desc *msg_desc,
				   void *context)
{
	application_state_sending(&global_state_notifier, false);
#ifdef CONFIG_SIDEWALK_CLI
	CLI_register_message_not_send();
#endif
	LOG_ERR("failed to send message(type: %d, id: %u), err:%d", (int)msg_desc->type,
		msg_desc->id, (int)error);
	printk(JSON_NEW_LINE(JSON_OBJ(JSON_NAME(
		"on_send_error",
		JSON_OBJ(JSON_LIST_2(JSON_VAL_sid_error_t("error", error),
				     JSON_VAL_sid_msg_desc("sid_msg_desc", msg_desc, 0)))))));
}

static void on_sidewalk_status_changed(const struct sid_status *status, void *context)
{
	LOG_INF("status changed: %s", status_name[status->state]);

	app_ctx_t *app_ctx = (app_ctx_t *)context;

#ifdef CONFIG_SIDEWALK_CLI
	CLI_register_sid_status(status);
#endif
	switch (status->state) {
	case SID_STATE_READY:
		application_state_connected(&global_state_notifier, true);
		break;
	case SID_STATE_NOT_READY:
		application_state_connected(&global_state_notifier, false);
		break;
	case SID_STATE_ERROR:
		LOG_ERR("Sidewalk error: %d", (int)sid_get_error(app_ctx->handle));
		break;
	case SID_STATE_SECURE_CHANNEL_READY:
		break;
	}

	application_state_registered(&global_state_notifier,
				     status->detail.registration_status == SID_STATUS_REGISTERED);
	application_state_time_sync(&global_state_notifier,
				    status->detail.time_sync_status == SID_STATUS_TIME_SYNCED);
	application_state_link(&global_state_notifier, !!(status->detail.link_status_mask));

	LOG_INF("Device %sregistered, Time Sync %s, Link status: {BLE: %s, FSK: %s, LoRa: %s}",
		(SID_STATUS_REGISTERED == status->detail.registration_status) ? "Is " : "Un",
		(SID_STATUS_TIME_SYNCED == status->detail.time_sync_status) ? "Success" : "Fail",
		(status->detail.link_status_mask & SID_LINK_TYPE_1) ? "Up" : "Down",
		(status->detail.link_status_mask & SID_LINK_TYPE_2) ? "Up" : "Down",
		(status->detail.link_status_mask & SID_LINK_TYPE_3) ? "Up" : "Down");

	for (int i = 0; i < SID_LINK_TYPE_MAX_IDX; i++) {
		enum sid_link_mode mode =
			(enum sid_link_mode)status->detail.supported_link_modes[i];

		if (mode) {
			LOG_INF("Link mode on %s = {Cloud: %s, Mobile: %s}", link_mode_idx_name[i],
				(mode & SID_LINK_MODE_CLOUD) ? "True" : "False",
				(mode & SID_LINK_MODE_MOBILE) ? "True" : "False");
		}
	}
}

static void on_sidewalk_factory_reset(void *context)
{
	ARG_UNUSED(context);

	LOG_INF("factory reset notification received from sid api");
	if (sid_hal_reset(SID_HAL_RESET_NORMAL)) {
		LOG_WRN("Reboot type not supported");
	}
}

sid_error_t sidewalk_callbacks_set(void *context, struct sid_event_callbacks *callbacks)
{
	if (!callbacks) {
		return SID_ERROR_INVALID_ARGS;
	}
	callbacks->context = context;
	callbacks->on_event = on_sidewalk_event;
	callbacks->on_msg_received = on_sidewalk_msg_received; /* Called from sid_process() */
	callbacks->on_msg_sent = on_sidewalk_msg_sent; /* Called from sid_process() */
	callbacks->on_send_error = on_sidewalk_send_error; /* Called from sid_process() */
	callbacks->on_status_changed = on_sidewalk_status_changed; /* Called from sid_process() */
	callbacks->on_factory_reset = on_sidewalk_factory_reset; /* Called from sid_process() */

	return SID_ERROR_NONE;
}
```
